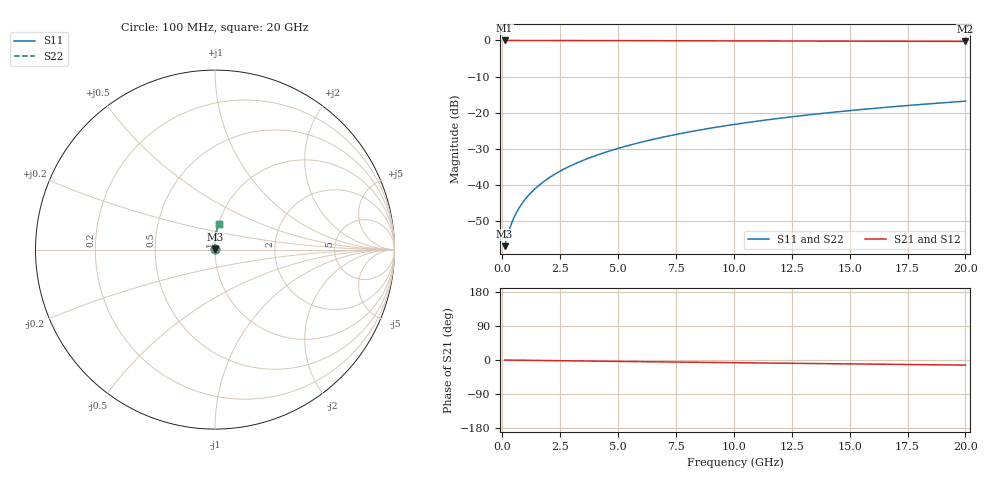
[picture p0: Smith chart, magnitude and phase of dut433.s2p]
! Touchstone file exported from HFSS 2024.1.0
!  File:  C:/UserFiles/LocalFiles/RDL_TSV_Batchsim/temp_RDL_top_433_1779676462.aedt
!  Generated:  10:36:55 AM May 25, 2026
!  Design:  RDL_top
!  Project:  temp_RDL_top_433_1779676462
!  Setup:  Setup1
!  Solution:  Sweep
! Variables:
!  dtsv = 10.80580581um
!  hbump = 3um
!  htsv = 55.1um
!  ldown = 100um
!  lrdl = 167.81um
!  p = 40
!  p1 = 44.18um
!  rhole = 1um
!  t = 450um
!  tdown = 3.915915916um
!  trdl = 2.74um
!  wdown = 15.38538539um
!  wrdl = 22.45um
# GHz S MA R 50.000000
! Terminal data exported
! Port[1] = Box2_T1
! Port[2] = Box2_T2
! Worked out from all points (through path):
!   200 points, 100 MHz to 20 GHz, reference 50 ohm
!   highest |S21| = -0.01 dB at 100 MHz (marker M1); lowest = -0.3 dB at 20 GHz (marker M2)
!   group delay of S21, straight-line fit = 1.84 ps
!   lowest |S11| = -56.8 dB at 100 MHz (marker M3), VSWR 1.00, Z = 50.1 + j0.0692 ohm
!   |S11| at or under -10 dB: start of sweep to end of sweep
!   |S22| runs from -56.8 to -16.8 dB; largest |S21 - S12| = 3.5e-15
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0.1  0.001443 28.6  0.9987 -0.1  0.9987 -0.1  0.001443 28.6
! Gamma 0 0 0 0
! Port Impedance 50 0 50 0
0.3  0.002424 56.1  0.9986 -0.2  0.9986 -0.2  0.002424 56.1
0.4  0.002986 62.2  0.9986 -0.3  0.9986 -0.3  0.002986 62.2
0.5  0.003557 66.3  0.9985 -0.4  0.9985 -0.4  0.003557 66.3
0.6  0.004133 69.4  0.9984 -0.5  0.9984 -0.5  0.004133 69.4
0.8  0.005296 73.8  0.9983 -0.6  0.9983 -0.6  0.005296 73.8
1  0.006475 76.8  0.9982 -0.8  0.9982 -0.8  0.006475 76.8
1.2  0.007669 79.0  0.9981 -0.9  0.9981 -0.9  0.007669 79.0
1.4  0.008876 80.7  0.998 -1.1  0.998 -1.1  0.008876 80.7
1.7  0.01071 82.6  0.9977 -1.3  0.9977 -1.3  0.01071 82.6
2.2  0.01381 84.8  0.9973 -1.7  0.9973 -1.7  0.01381 84.8
2.8  0.01761 86.5  0.9967 -2.1  0.9967 -2.1  0.01761 86.5
3.5  0.02216 87.8  0.9959 -2.6  0.9959 -2.6  0.02216 87.8
4.2  0.02683 88.7  0.9949 -3.2  0.9949 -3.2  0.02683 88.7
5  0.03232 89.3  0.9937 -3.7  0.9937 -3.7  0.03232 89.3
5.9  0.03866 89.6  0.9922 -4.4  0.9922 -4.4  0.03866 89.6
6.8  0.04516 89.6  0.9907 -5.0  0.9907 -5.0  0.04516 89.6
8.4  0.057 89.2  0.9879 -6.1  0.9879 -6.1  0.057 89.2
10.1  0.06985 88.4  0.9849 -7.2  0.9849 -7.2  0.06985 88.4
13.4  0.09508 86.2  0.9793 -9.3  0.9793 -9.3  0.09508 86.2
16.7  0.1202 83.8  0.9739 -11.4  0.9739 -11.4  0.1202 83.8
20  0.145 81.3  0.9685 -13.4  0.9685 -13.4  0.145 81.3
